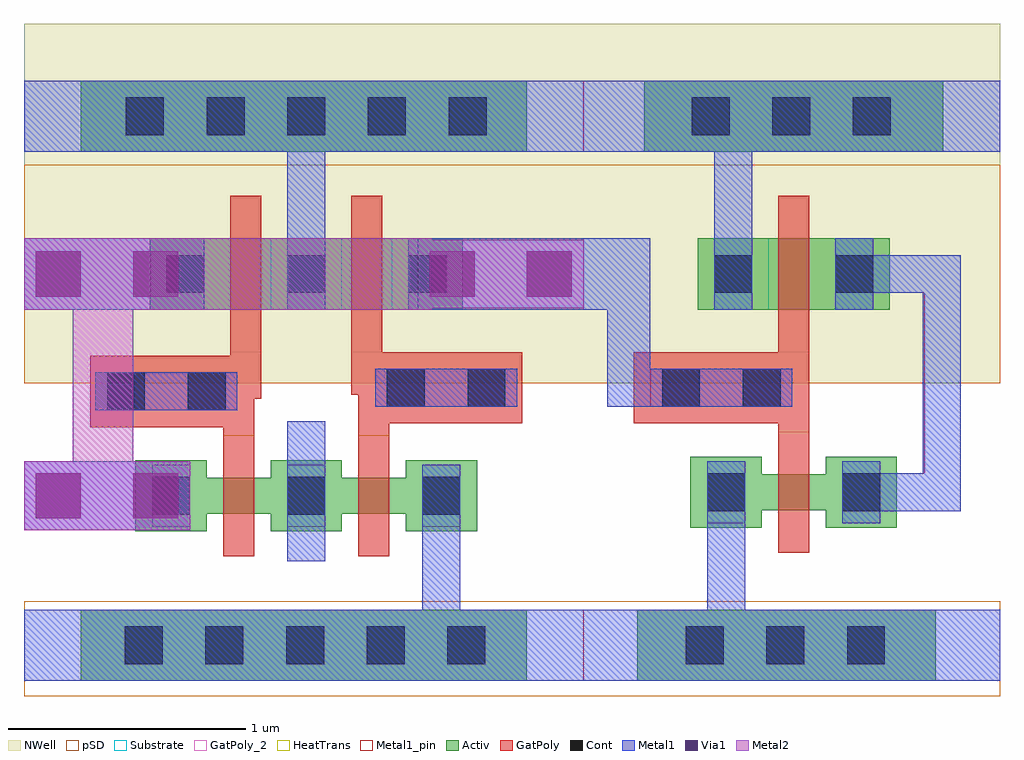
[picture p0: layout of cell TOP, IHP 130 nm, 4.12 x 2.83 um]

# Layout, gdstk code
from math import pi, radians
import gdstk
lib = gdstk.Library(unit=1e-6, precision=1e-09)
def R(c, l, rs):  # rectangles x0, y0, x1, y1
    for r in rs: c.add(gdstk.rectangle(r[:2], r[2:], *l))
def A(c, l, x, y, w, h, nx, ny, dx, dy):  # array of equal rectangles
    R(c, l, [(x+i*dx, y+j*dy, x+i*dx+w, y+j*dy+h) for i in range(nx) for j in range(ny)])
def P(c, l, *ps):  # polygons
    for p in ps: c.add(gdstk.Polygon(p, *l))
Activ = (1, 0)
GatPoly = (5, 0)
GatPoly_2 = (5, 2)
Cont = (6, 0)
Metal1 = (8, 0)
Metal1_pin = (8, 2)
Metal2 = (10, 0)
pSD = (14, 0)
Via1 = (19, 0)
NWell = (31, 0)
Substrate = (40, 0)
HeatTrans = (51, 0)

pmos = lib.new_cell('pmos')
R(pmos, Activ, [(0,0,0.3,0.3), (0,0,0.81,0.3), (0.51,0,0.81,0.3)])
R(pmos, GatPoly, [(0.34,-0.18,0.47,0.48), (0.34,-0.18,0.47,0.48)])
R(pmos, Cont, [(0.07,0.07,0.23,0.23), (0.58,0.07,0.74,0.23)])
R(pmos, Metal1, [(0.07,0,0.23,0.3), (0.07,0,0.23,0.3), (0.58,0,0.74,0.3), (0.58,0,0.74,0.3)])
R(pmos, pSD, [(-0.18,-0.3,0.99,0.6)])
R(pmos, NWell, [(-0.31,-0.31,1.12,0.61)])
R(pmos, Substrate, [(0.51,0,0.81,0.3)])
R(pmos, HeatTrans, [(0.34,-0.18,0.47,0.48)])
pmos.add(gdstk.Label('pmos', (0.405,0.15), layer=63, texttype=0))
pmos.add(gdstk.Label('pmos', (0.405,0.15), layer=51, texttype=0))

nmos = lib.new_cell('nmos')
R(nmos, Activ, [(0,0,0.3,0.3), (0.57,0,0.87,0.3), (0,0.075,0.87,0.225)])
R(nmos, GatPoly, [(0.37,-0.105,0.5,0.405)])
R(nmos, GatPoly_2, [(0.37,-0.105,0.5,0.405)])
R(nmos, Cont, [(0.07,0.07,0.23,0.23), (0.64,0.07,0.8,0.23)])
R(nmos, Metal1, [(0.07,0.02,0.23,0.28), (0.64,0.02,0.8,0.28)])
R(nmos, Metal1_pin, [(0.07,0.02,0.23,0.28), (0.64,0.02,0.8,0.28)])
R(nmos, HeatTrans, [(0.37,-0.105,0.5,0.405)])
nmos.add(gdstk.Label('nmos', (0.435,0.15), layer=63, texttype=0))
nmos.add(gdstk.Label('nmos', (0.435,0.15), layer=51, texttype=0))

via_stack = lib.new_cell('via_stack')
R(via_stack, Metal1, [(-0.35,-0.145,0.35,0.145)])
R(via_stack, Metal2, [(-0.35,-0.145,0.35,0.145)])
R(via_stack, Via1, [(-0.3,-0.095,-0.11,0.095), (0.11,-0.095,0.3,0.095)])

pmos_1 = lib.new_cell('pmos$1')
R(pmos_1, Activ, [(0,0,0.3,0.3), (0,0,0.81,0.3), (0.51,0,0.81,0.3)])
R(pmos_1, GatPoly, [(0.34,-0.18,0.47,0.48), (0.34,-0.18,0.47,0.48)])
R(pmos_1, Cont, [(0.07,0.07,0.23,0.23), (0.58,0.07,0.74,0.23)])
R(pmos_1, Metal1, [(0.07,0,0.23,0.3), (0.07,0,0.23,0.3), (0.58,0,0.74,0.3), (0.58,0,0.74,0.3)])
R(pmos_1, pSD, [(-0.18,-0.3,0.99,0.6)])
R(pmos_1, NWell, [(-0.31,-0.31,1.12,0.61)])
R(pmos_1, Substrate, [(0.51,0,0.81,0.3)])
R(pmos_1, HeatTrans, [(0.34,-0.18,0.47,0.48)])
pmos_1.add(gdstk.Label('pmos', (0.405,0.15), layer=63, texttype=0))
pmos_1.add(gdstk.Label('pmos', (0.405,0.15), layer=51, texttype=0))

top = lib.new_cell('TOP')
R(top, Activ, [(-6.875,1.785,-4.995,2.085), (-4.53,1.785,-3.27,2.085), (-6.875,4.015,-4.995,4.315), (-4.5,4.015,-3.24,4.315)])
P(top, GatPoly, [(-5.705,2.82),(-5.705,2.99),(-5.735,2.99),(-5.735,3.185),(-5.605,3.185),(-5.605,3.17),(-5.015,3.17),(-5.015,2.87),(-5.575,2.87),(-5.575,2.82)],
  [(-6.275,2.82),(-6.275,2.855),(-6.835,2.855),(-6.835,3.155),(-6.245,3.155),(-6.245,3.17),(-6.115,3.17),(-6.115,2.975),(-6.145,2.975),(-6.145,2.82)],
  [(-3.935,2.835),(-3.935,2.87),(-4.545,2.87),(-4.545,3.17),(-3.805,3.17),(-3.805,2.835)])
A(top, Cont, -6.69, 1.855, 0.16, 0.16, 5, 1, 0.34, 0)
A(top, Cont, -4.325, 1.855, 0.16, 0.16, 3, 1, 0.34, 0)
A(top, Cont, -6.685, 4.085, 0.16, 0.16, 5, 1, 0.34, 0)
A(top, Cont, -4.3, 4.085, 0.16, 0.16, 3, 1, 0.34, 0)
R(top, Cont, [(-6.765,2.925,-6.605,3.085), (-6.425,2.925,-6.265,3.085), (-5.585,2.94,-5.425,3.1), (-5.245,2.94,-5.085,3.1), (-4.425,2.94,-4.265,3.1), (-4.085,2.94,-3.925,3.1)])
R(top, Metal1, [(-6.005,2.29,-5.845,2.88), (-7.115,2.42,-6.415,2.71), (-6.815,2.925,-6.215,3.085), (-5.635,2.94,-5.035,3.1), (-7.115,3.35,-6.355,3.65)])
P(top, Metal1, [(-6.005,3.5),(-6.005,4.015),(-7.115,4.015),(-7.115,4.315),(-4.755,4.315),(-4.755,4.015),(-5.845,4.015),(-5.845,3.5)],
  [(-7.115,1.785),(-7.115,2.085),(-5.435,2.085),(-5.435,2.47),(-5.275,2.47),(-5.275,2.085),(-4.755,2.085),(-4.755,1.785)],
  [(-4.755,1.785),(-4.755,2.085),(-4.235,2.085),(-4.235,2.45),(-4.075,2.45),(-4.075,2.085),(-3,2.085),(-3,1.785)],
  [(-4.655,2.94),(-4.655,3.35),(-5.495,3.35),(-5.495,3.65),(-4.475,3.65),(-4.475,3.35),(-4.475,3.1),(-3.875,3.1),(-3.875,2.94)],
  [(-4.205,3.65),(-4.205,4.015),(-4.755,4.015),(-4.755,4.315),(-3,4.315),(-3,4.015),(-4.045,4.015),(-4.045,3.65)],
  [(-3.525,2.5),(-3.525,2.66),(-3.325,2.66),(-3.325,3.42),(-3.555,3.42),(-3.555,3.58),(-3.165,3.58),(-3.165,2.5)])
R(top, Metal1_pin, [(-7.115,1.785,-4.755,2.085), (-4.53,1.785,-3.27,2.085), (-6.815,2.925,-6.215,3.085), (-5.635,2.94,-5.035,3.1), (-4.475,2.94,-3.875,3.1), (-5.455,3.35,-4.755,3.65), (-7.115,4.015,-4.755,4.315), (-4.5,4.015,-3.24,4.315)])
P(top, Metal1_pin, [(-3.665,2.5),(-3.665,2.66),(-3.32,2.66),(-3.32,3.42),(-3.695,3.42),(-3.695,3.58),(-3.165,3.58),(-3.165,2.5)])
P(top, Metal2, [(-7.115,2.42),(-7.115,2.71),(-6.91,2.71),(-6.91,3.35),(-7.115,3.35),(-7.115,3.65),(-5.395,3.65),(-5.395,3.35),(-6.655,3.35),(-6.655,2.71),(-6.415,2.71),(-6.415,2.42)])
R(top, pSD, [(-7.115,1.72,-4.755,2.12), (-4.755,1.72,-3,2.12), (-7.115,3.04,-4.755,3.96), (-4.755,3.04,-3,3.96)])
P(top, NWell, [(-7.115,3.04),(-7.115,4.555),(-4.755,4.555),(-4.755,3.04),(-4.955,3.04),(-4.955,3.96),(-6.895,3.96),(-6.895,3.04)],
  [(-4.755,3.04),(-4.755,4.555),(-3,4.555),(-3,3.04),(-3.345,3.04),(-3.345,3.96),(-4.585,3.96),(-4.585,3.04)])
top.add(gdstk.Reference(pmos, (-6.585,3.35)))
top.add(gdstk.Reference(pmos, (-6.075,3.35)))
top.add(gdstk.Reference(nmos, (-6.645,2.415)))
top.add(gdstk.Reference(nmos, (-6.075,2.415)))
top.add(gdstk.Reference(via_stack, (-6.765,3.5)))
top.add(gdstk.Reference(via_stack, (-6.765,2.565)))
top.add(gdstk.Reference(via_stack, (-5.105,3.5)))
top.add(gdstk.Reference(nmos, (-3.435,2.43), rotation=pi, x_reflection=True))
top.add(gdstk.Reference(pmos_1, (-3.465,3.35), rotation=pi, x_reflection=True))

lib.write_gds('TOP.gds')
